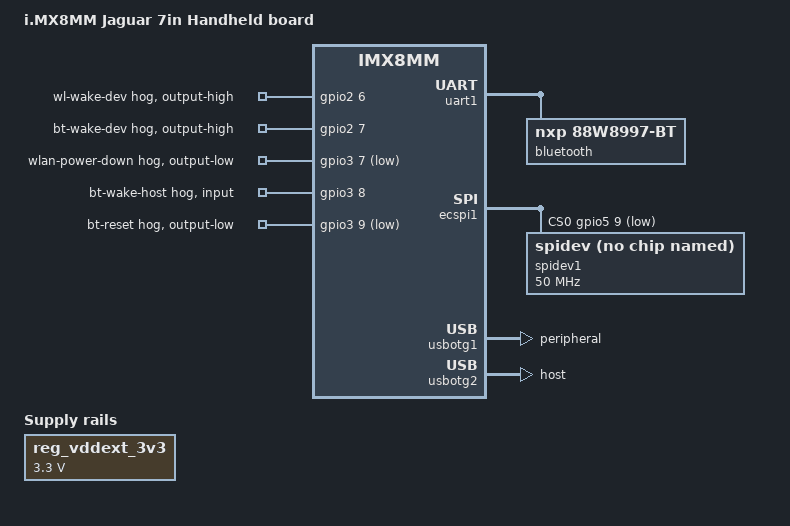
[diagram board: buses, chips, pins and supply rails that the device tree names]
// SPDX-License-Identifier: (GPL-2.0 OR MIT)
/*
 * Copyright 2020 NXP
 */

#include "freescale/imx8mm-evkb.dts"
#include <dt-bindings/gpio/gpio.h>
#include <dt-bindings/leds/common.h>

/ {
        model = "i.MX8MM Jaguar 7in Handheld board";

	// Regulators
	reg_vddext_3v3: regulator-vddext {
		compatible = "regulator-fixed";
		regulator-name = "VDDEXT_3V3";
		regulator-min-microvolt = <3300000>;
		regulator-max-microvolt = <3300000>;
	};
};

&iomuxc {
        pinctrl-names = "default";
	pinctrl-0 = <&pinctrl_hog>;

	// TODO: Break these out better?
	pinctrl_hog: hoggrp {
		fsl,pins = <
			MX8MM_IOMUXC_SD1_DATA4_GPIO2_IO6	0x140  // WL_WAKE_DEV
			MX8MM_IOMUXC_SD1_DATA5_GPIO2_IO7	0x140  // BT_WAKE_DEV
                        MX8MM_IOMUXC_NAND_DATA01_GPIO3_IO7      0x140  // WIFI_PD#
			MX8MM_IOMUXC_NAND_DATA02_GPIO3_IO8	0x140  // BT_WAKE_HOST
                        MX8MM_IOMUXC_NAND_DATA03_GPIO3_IO9      0x140  // BT_RST#
                        MX8MM_IOMUXC_SAI1_RXD7_GPIO4_IO9        0x140  // LED_ENABLE
                        MX8MM_IOMUXC_SAI1_TXFS_GPIO4_IO10       0x140  // CODEC_IRQ#
                        MX8MM_IOMUXC_SPDIF_RX_GPIO5_IO4         0x140  // CODEC_SD#
                        MX8MM_IOMUXC_SD1_STROBE_GPIO2_IO11      0x140  // ZB_RST#
                        MX8MM_IOMUXC_ECSPI2_MISO_GPIO5_IO12     0x140  // ZB_INT
			MX8MM_IOMUXC_NAND_CE0_B_GPIO3_IO1	0x140  // LTE_OFF
			MX8MM_IOMUXC_SAI1_RXD4_GPIO4_IO6	0x140  // SLMB_0
		>;
	};

        pinctrl_ecspi1: ecspi1grp {
                fsl,pins = <
			MX8MM_IOMUXC_ECSPI1_SS0_GPIO5_IO9	0x13
                        MX8MM_IOMUXC_ECSPI1_SCLK_ECSPI1_SCLK	0x13
                        MX8MM_IOMUXC_ECSPI1_MISO_ECSPI1_MISO	0x13
                        MX8MM_IOMUXC_ECSPI1_MOSI_ECSPI1_MOSI	0x13
                >;
        };

        pinctrl_ecspi2: ecspi2grp {
                fsl,pins = <
			MX8MM_IOMUXC_ECSPI2_SS0_GPIO5_IO13	0x96
                        MX8MM_IOMUXC_ECSPI2_SCLK_ECSPI2_SCLK	0x96
                        MX8MM_IOMUXC_ECSPI2_MOSI_ECSPI2_MOSI	0x96
			MX8MM_IOMUXC_ECSPI2_MISO_ECSPI2_MISO	0x96
			MX8MM_IOMUXC_SAI3_RXC_GPIO4_IO29	0x96  // RADAR_IRQ
			MX8MM_IOMUXC_SAI3_RXFS_GPIO4_IO28	0x96 // RADAR_RST
                >;
        };

	pinctrl_pdm: pdmgrp {
		fsl,pins = <
			MX8MM_IOMUXC_SAI1_MCLK_PDM_CLK		0xd6
			MX8MM_IOMUXC_SAI1_RXD0_PDM_DATA0	0xd6
			MX8MM_IOMUXC_SAI1_RXD1_PDM_DATA1	0xd6
			MX8MM_IOMUXC_SAI1_RXD2_PDM_DATA2	0xd6
			MX8MM_IOMUXC_SAI1_RXD3_PDM_DATA3	0xd6
		>;
	};

        pinctrl_sai2: sai2grp {
                fsl,pins = <
                        MX8MM_IOMUXC_SAI2_MCLK_SAI2_MCLK        0xd6
                        MX8MM_IOMUXC_SAI2_TXFS_SAI2_TX_SYNC     0xd6
                        MX8MM_IOMUXC_SAI2_TXC_SAI2_TX_BCLK      0xd6
                        MX8MM_IOMUXC_SAI2_TXD0_SAI2_TX_DATA0    0xd6
                        MX8MM_IOMUXC_SAI2_RXD0_SAI2_RX_DATA0    0xd6
                >;
        };

        pinctrl_sai3: sai3grp {
                fsl,pins = <
                        MX8MM_IOMUXC_SAI3_TXFS_SAI3_TX_SYNC     0xd6
                        MX8MM_IOMUXC_SAI3_TXC_SAI3_TX_BCLK      0xd6
                        MX8MM_IOMUXC_SAI3_MCLK_SAI3_MCLK        0xd6
                        MX8MM_IOMUXC_SAI3_TXD_SAI3_TX_DATA0     0xd6
                        MX8MM_IOMUXC_SPDIF_EXT_CLK_GPIO5_IO5    0xd6 // Audio codec interrupt
                >;
        };

        pinctrl_uart1: uart1grp {
                fsl,pins = <
                        MX8MM_IOMUXC_UART1_RXD_UART1_DCE_RX     0x140
                        MX8MM_IOMUXC_UART1_TXD_UART1_DCE_TX     0x140
                        MX8MM_IOMUXC_UART3_TXD_UART1_DCE_RTS_B  0x140
                        MX8MM_IOMUXC_UART3_RXD_UART1_DCE_CTS_B  0x140
                >;
        };
};

&uart1 { /* BT */
        pinctrl-names = "default";
        pinctrl-0 = <&pinctrl_uart1>;
        assigned-clocks = <&clk IMX8MM_CLK_UART1>;
        assigned-clock-parents = <&clk IMX8MM_SYS_PLL1_80M>;
        fsl,uart-has-rtscts;
        status = "okay";

        bluetooth {
                compatible = "nxp,88w8997-bt";
		fw-init-baudrate = <115200>;
        };
};

&uart3 {
	status = "disabled";
};

&gpio2 {
	wl-wake-dev-hog {
		gpio-hog;
		gpios = <6 GPIO_ACTIVE_HIGH>;
		output-high;
		line-name = "wl-wake-dev";
	};
	bt-wake-dev-hog {
		gpio-hog;
		gpios = <7 GPIO_ACTIVE_HIGH>;
		output-high;
		line-name = "bt-wake-dev";
	};
};

&gpio3 {
	wlan-power-down-hog {
		gpio-hog;
		gpios = <7 GPIO_ACTIVE_LOW>;
		output-low;
		line-name = "wlan-power-down";
	};
	bt-wake-host-hog {
		gpio-hog;
		gpios = <8 GPIO_ACTIVE_HIGH>;
		input;
		line-name = "bt-wake-host";
	};
	bt-reset-hog {
		gpio-hog;
		gpios = <9 GPIO_ACTIVE_LOW>;
		output-low;
		line-name = "bt-reset";
	};
};

&fec1 {
        status = "disabled";
};

&i2c2 {
        ptn5110: tcpc@50 {
                status = "disabled";
	};
};

&sai1 {
	status = "disabled";
};

&spdif1 {
       status = "disabled";
};

&pcie0 {
       status = "disabled";
};

// 802.15.4
&ecspi1 {
	#address-cells = <1>;
	#size-cells = <0>;
	pinctrl-names = "default";
	pinctrl-0 = <&pinctrl_ecspi1>;
	cs-gpios = <&gpio5 9 GPIO_ACTIVE_LOW>;
        fsl,spi-num-chipselects = <1>;
	status = "okay";

        spidev1: spi@0 {
		compatible = "rohm,dh2228fv";
                spi-max-frequency = <50000000>;
                reg = <0>;
        };
};

&flexspi {
	status = "disabled";
};

// USB-C port
&usbotg1 {
	dr_mode = "peripheral";
        /delete-property/ usb-role-switch;
        status = "okay";
};

// Cellular modem
&usbotg2 {
	dr_mode = "host";
        status = "okay";
};
